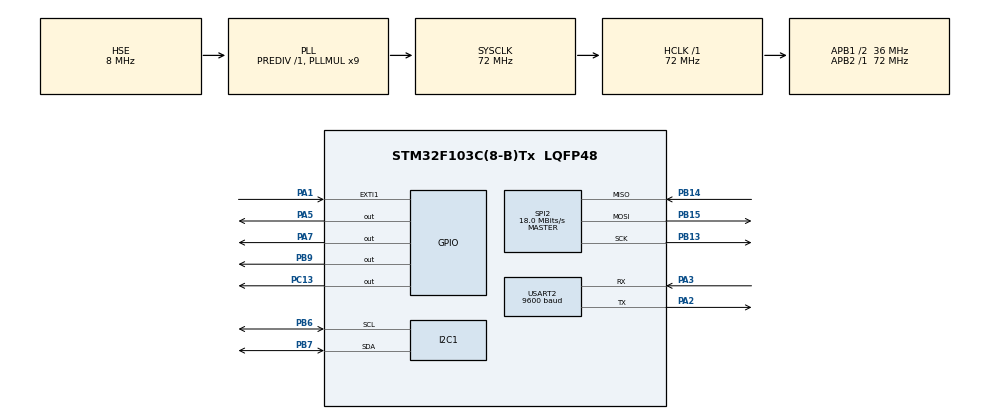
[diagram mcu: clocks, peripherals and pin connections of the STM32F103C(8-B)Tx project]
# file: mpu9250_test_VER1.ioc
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I2C1.I2C_Mode=I2C_Fast
Mcu.Family=STM32F1
Mcu.Name=STM32F103C(8-B)Tx
Mcu.Package=LQFP48
NVIC.EXTI1_IRQn=true\:0\:0\:false\:false\:true\:true\:true
NVIC.PriorityGroup=NVIC_PRIORITYGROUP_4
NVIC.USART2_IRQn=true\:0\:0\:false\:false\:true\:true\:true
PA1.GPIO_ModeDefaultEXTI=GPIO_MODE_IT_RISING
PA1.GPIO_PuPd=GPIO_PULLUP
PA1.Signal=GPXTI1
PA13.Mode=Serial_Wire
PA13.Signal=SYS_JTMS-SWDIO
PA14.Mode=Serial_Wire
PA14.Signal=SYS_JTCK-SWCLK
PA2.Mode=Asynchronous
PA2.Signal=USART2_TX
PA3.Mode=Asynchronous
PA3.Signal=USART2_RX
PA5.Signal=GPIO_Output
PA7.Signal=GPIO_Output
PB13.Mode=Full_Duplex_Master
PB13.Signal=SPI2_SCK
PB14.Mode=Full_Duplex_Master
PB14.Signal=SPI2_MISO
PB15.Mode=Full_Duplex_Master
PB15.Signal=SPI2_MOSI
PB6.Mode=I2C
PB6.Signal=I2C1_SCL
PB7.Mode=I2C
PB7.Signal=I2C1_SDA
PB9.Signal=GPIO_Output
PC13-TAMPER-RTC.Signal=GPIO_Output
PD0-OSC_IN.Mode=HSE-External-Oscillator
PD0-OSC_IN.Signal=RCC_OSC_IN
PD1-OSC_OUT.Mode=HSE-External-Oscillator
PD1-OSC_OUT.Signal=RCC_OSC_OUT
ProjectManager.HeapSize=0x200
ProjectManager.StackSize=0x400
ProjectManager.TargetToolchain=STM32CubeIDE
RCC.AHBFreq_Value=72000000
RCC.APB1CLKDivider=RCC_HCLK_DIV2
RCC.APB1Freq_Value=36000000
RCC.APB1TimFreq_Value=72000000
RCC.APB2Freq_Value=72000000
RCC.APB2TimFreq_Value=72000000
RCC.HCLKFreq_Value=72000000
RCC.PLLMUL=RCC_PLL_MUL9
RCC.PLLSourceVirtual=RCC_PLLSOURCE_HSE
RCC.SYSCLKFreq_VALUE=72000000
RCC.SYSCLKSource=RCC_SYSCLKSOURCE_PLLCLK
RCC.USBFreq_Value=72000000
SPI2.CalculateBaudRate=18.0 MBits/s
SPI2.Direction=SPI_DIRECTION_2LINES
SPI2.Mode=SPI_MODE_MASTER
SPI2.VirtualType=VM_MASTER
TIM2.Prescaler=36000
USART2.BaudRate=9600
USART2.VirtualMode=VM_ASYNC
VP_TIM2_VS_ClockSourceINT.Mode=Internal
board=custom

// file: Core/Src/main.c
/* USER CODE BEGIN Header */
/**
  ******************************************************************************
  * @file           : main.c
  * @brief          : Main program body
  ******************************************************************************
  * @attention
  *
  * <h2><center>&copy; Copyright (c) 2021 STMicroelectronics.
  * All rights reserved.</center></h2>
  *
  * This software component is licensed by ST under BSD 3-Clause license,
  * the "License"; You may not use this file except in compliance with the
  * License. You may obtain a copy of the License at:
  *                        opensource.org/licenses/BSD-3-Clause
  *
  ******************************************************************************
  */
/* USER CODE END Header */
#include "main.h"

/* USER CODE BEGIN Includes */
#include <stdio.h>
#include <stdlib.h>
#include <string.h>
#include <math.h>
#include "kalman.h"
#include "MahonyAHRS.h"
/* USER CODE END Includes */

I2C_HandleTypeDef hi2c1;

SPI_HandleTypeDef hspi2;

TIM_HandleTypeDef htim2;

UART_HandleTypeDef huart2;

void SystemClock_Config(void);
static void MX_GPIO_Init(void);
static void MX_USART2_UART_Init(void);
static void MX_I2C1_Init(void);
static void MX_TIM2_Init(void);
static void MX_SPI2_Init(void);

/* USER CODE BEGIN 0 */
#define PI 3.14159265
//MPU6500
#define MPU9250_ADDR 0xD0 //0x68<<1
#define WHO_AM_I_REG 0x75 //return value 0x71
#define PWR_MGMT_1_REG 0x6B
#define PWR_MGMT_2_REG 0x6C
#define SMPLRT_DIV_REG 0x19
#define CONFIG_REG 0x1A
#define GYRO_CONFIG_REG 0x1B
#define ACCEL_CONFIG_REG 0x1C
#define ACCEL_CONFIG2_REG 0x1D
#define WOM_THR_REG 0x1F
#define ACCEL_XOUT_H_REG 0x3B
#define TEMP_OUT_H_REG 0x41
#define GYRO_XOUT_H_REG 0x43
#define INT_ENABL_REG 0x38
#define MOT_DETECT_CTRL_REG 0x69
#define INT_PIN_CFG_REG 0x37
#define FIFO_EN          0x23
#define I2C_MST_CTRL     0x24
#define USER_CTRL        0x6A  // Bit 7 enable DMP, bit 3 reset DMP
#define FIFO_COUNTH      0x72
#define FIFO_R_W         0x74

// AK8963 registers
#define AK8963_ADDR 0x0C
#define AK8963_CNTL1_REG 0x0A
#define AK8963_WHOAMI_REG 0x00 //device id = 0x48
#define AK8963_HXL_REG 0x03 //Measurement Data
#define AK8963_ASAX      0x10	// Fuse ROM x-axis sensitivity adjustment value

uint8_t Mmode = 0x06;        // 2 for 8 Hz, 6 for 100 Hz continuous magnetometer data read

int16_t Accel_X_RAW = 0;
int16_t Accel_Y_RAW = 0;
int16_t Accel_Z_RAW = 0;

int16_t Gyro_X_RAW = 0;
int16_t Gyro_Y_RAW = 0;
int16_t Gyro_Z_RAW = 0;

int16_t Mag_X_RAW = 0;
int16_t Mag_Y_RAW = 0;
int16_t Mag_Z_RAW = 0;

int16_t Temp_RAW = 0;

uint8_t data_rec[6];
uint8_t data;
int16_t x,y,z;
float xg,yg,zg;

float magCalibration[3] = {0, 0, 0};
float gyroBias[3] = {0, 0, 0}, accelBias[3] = {0, 0, 0} ,magBias[3] = {0, 0, 0}, magScale[3]  = {0, 0, 0};
float Ax, Ay, Az, Gx, Gy, Gz, Mx, My, Mz, Temp;
kfilter* gxf,* gyf,* gzf;

double angle[3];
double prior[3];
double roll,pitch;
double rad2deg = 180/3.1415;
float mRes = 10.*4912./32760.0; // Proper scale to return milliGauss
float dt=0.01;
double base[3]={0,0,0};
double acce[3];

void MPU9250_Init (void)
{
    uint8_t check;
    uint8_t Data;

	// check WHO_AM_I

    HAL_I2C_Mem_Read (&hi2c1, MPU9250_ADDR,WHO_AM_I_REG,1, &check, 1, 1000);

    if (check == 0x71)
	{
		//Reset
		Data = 0X80;
		HAL_I2C_Mem_Write(&hi2c1, MPU9250_ADDR, PWR_MGMT_1_REG, 1,&Data, 1, 1000);

		//Wake up
        Data = 0X00;
        HAL_I2C_Mem_Write(&hi2c1, MPU9250_ADDR, PWR_MGMT_1_REG, 1,&Data, 1, 1000);

		// Set DATA RATE = 1kHZ
        Data = 0x00;
        HAL_I2C_Mem_Write(&hi2c1, MPU9250_ADDR, SMPLRT_DIV_REG, 1, &Data, 1, 1000);

		// Set accelerometer +-2g
		Data = 0x00;
		HAL_I2C_Mem_Write(&hi2c1, MPU9250_ADDR, ACCEL_CONFIG_REG, 1, &Data, 1, 1000);

		// Set Gyroscope +-250
		Data = 0x11;
		HAL_I2C_Mem_Write(&hi2c1, MPU9250_ADDR, GYRO_CONFIG_REG, 1, &Data, 1, 1000);

		// Set DLPF Gyro Bandwidth = 188hz
		Data = 0x01;
		HAL_I2C_Mem_Write(&hi2c1, MPU9250_ADDR, CONFIG_REG, 1, &Data, 1, 1000);

		// Set DLPF ACCEL Bandwidth = 5hz
		Data = 0x06;
		HAL_I2C_Mem_Write(&hi2c1, MPU9250_ADDR, ACCEL_CONFIG2_REG, 1, &Data, 1, 1000);

		//The logic level for INT pin is active low
		//BYPASS Enable
		Data = 0x82;
		HAL_I2C_Mem_Write(&hi2c1, MPU9250_ADDR, INT_PIN_CFG_REG, 1, &Data, 1, 1000);

		// Auto selects the best available clock source ?? PLL if ready, else use the Internal oscillator
		Data = 0x01;
		HAL_I2C_Mem_Write(&hi2c1, MPU9250_ADDR, PWR_MGMT_1_REG, 1, &Data, 1, 1000);

		// Enable ACCEL & GYRO
		Data = 0x00;
		HAL_I2C_Mem_Write(&hi2c1, MPU9250_ADDR, PWR_MGMT_2_REG, 1, &Data, 1, 1000);
	}

	HAL_I2C_Mem_Read (&hi2c1, (AK8963_ADDR<<1),AK8963_WHOAMI_REG,1, &check, 1, 1000);

	if (check == 0x48){
		// Single measurement mode
		// 16-bit output
		Data = 0x11;
		HAL_I2C_Mem_Write(&hi2c1, (AK8963_ADDR<<1), AK8963_CNTL1_REG, 1, &Data, 1, 1000);
	}
}
void initAK8963(float * destination)
{
  // First extract the factory calibration for each magnetometer axis
    uint8_t rawData[3];  // x/y/z gyro calibration data stored here
    uint8_t Data;
    Data = 0x00;
    HAL_I2C_Mem_Write(&hi2c1, (AK8963_ADDR<<1), AK8963_CNTL1_REG, 1, &Data, 1, 1000);	 // Power down magnetometer
    HAL_Delay(10);
    Data = 0x0F;
    HAL_I2C_Mem_Write(&hi2c1, (AK8963_ADDR<<1), AK8963_CNTL1_REG, 1, &Data, 1, 1000);	// Enter Fuse ROM access mode
    HAL_Delay(10);
    HAL_I2C_Mem_Read (&hi2c1, (AK8963_ADDR<<1),AK8963_ASAX,1, &rawData, 3, 1000); // Read the x-, y-, and z-axis calibration values
    destination[0] =  (float)(rawData[0] - 128)/256. + 1.;   // Return x-axis sensitivity adjustment values, etc.
    destination[1] =  (float)(rawData[1] - 128)/256. + 1.;
    destination[2] =  (float)(rawData[2] - 128)/256. + 1.;
    Data = 0x00;
    HAL_I2C_Mem_Write(&hi2c1, (AK8963_ADDR<<1), AK8963_CNTL1_REG, 1, &Data, 1, 1000);	 // Power down magnetometer
    HAL_Delay(10);
  // Configure the magnetometer for continuous read and highest resolution
  // set Mscale bit 4 to 1 (0) to enable 16 (14) bit resolution in CNTL register,
  // and enable continuous mode data acquisition Mmode (bits [3:0]), 0010 for 8 Hz and 0110 for 100 Hz sample rates
    Data = 1 << 4 | Mmode;
    HAL_I2C_Mem_Write(&hi2c1, (AK8963_ADDR<<1), AK8963_CNTL1_REG, 1, &Data, 1, 1000); // Set magnetometer data resolution and sample ODR
    HAL_Delay(10);
}

void MPU9250_Read_Accel (void)
{
	uint8_t Rec_Data[6];

	// Read 6 BYTES of data starting from ACCEL_XOUT_H register

	HAL_I2C_Mem_Read (&hi2c1, MPU9250_ADDR, ACCEL_XOUT_H_REG, 1, Rec_Data, 6, 1000);

	Accel_X_RAW = (int16_t)(Rec_Data[0] << 8 | Rec_Data [1]);
	Accel_Y_RAW = (int16_t)(Rec_Data[2] << 8 | Rec_Data [3]);
	Accel_Z_RAW = (int16_t)(Rec_Data[4] << 8 | Rec_Data [5]);

	/*** convert the RAW values into acceleration in 'g'
	     check ACCEL_CONFIG Register              ****/

	Ax = Accel_X_RAW/16384.0 ;
	Ay = Accel_Y_RAW/16384.0 ;
    Az = Accel_Z_RAW/16384.0 ;
    Ax-=accelBias[0];
	Ay-=accelBias[1];
    Az-=accelBias[2];
}

void MPU9250_Read_Gyro (void)
{
	uint8_t Rec_Data[6];

	// Read 6 BYTES of data starting from GYRO_XOUT_H register

	HAL_I2C_Mem_Read (&hi2c1, MPU9250_ADDR, GYRO_XOUT_H_REG, 1, Rec_Data, 6, 1000);

	Gyro_X_RAW = (int16_t)(Rec_Data[0] << 8 | Rec_Data [1]);
	Gyro_Y_RAW = (int16_t)(Rec_Data[2] << 8 | Rec_Data [3]);
	Gyro_Z_RAW = (int16_t)(Rec_Data[4] << 8 | Rec_Data [5]);

	/*** convert the RAW values into dps
	 check GYRO_CONFIG Register              ****/

	Gx = Gyro_X_RAW/131.0 - gyroBias[0];
	Gy = Gyro_Y_RAW/131.0 - gyroBias[1];
	Gz = Gyro_Z_RAW/131.0 - gyroBias[2];
}

void MPU9250_Read_Temp (void)
{
	uint8_t Rec_Data[2];

	// Read 2 BYTES of data starting from TEMP_OUT_H_REG register

	HAL_I2C_Mem_Read (&hi2c1, MPU9250_ADDR, TEMP_OUT_H_REG, 1, Rec_Data, 2, 1000);

	Temp_RAW = (int16_t)(Rec_Data[0] << 8 | Rec_Data [1]);

	/*** convert the RAW values into the temperature in degrees C
	 	 	 ****/

	Temp=21+((double)Temp_RAW)/333.87;
}

void MPU9250_Read_Mag (void)
{
	uint8_t Rec_Data[6];
	uint8_t Data = 0x11;
	// Read 6 BYTES of data starting from AK8963_HXL_REG register

	HAL_I2C_Mem_Read (&hi2c1, (AK8963_ADDR<<1), AK8963_HXL_REG, 1, Rec_Data, 6, 1000);

	Mag_X_RAW = (int16_t)(Rec_Data[1] << 8 | Rec_Data [0]);
	Mag_Y_RAW = (int16_t)(Rec_Data[3] << 8 | Rec_Data [2]);
	Mag_Z_RAW = (int16_t)(Rec_Data[5] << 8 | Rec_Data [4]);

	/*** convert the RAW values into µT
		 check HXL Register              ****/
	Mx = (float)Mag_X_RAW*mRes*magCalibration[0] - magBias[0];  // get actual magnetometer value, this depends on scale being set
	My = (float)Mag_Y_RAW*mRes*magCalibration[1] - magBias[1];
	Mz = (float)Mag_Z_RAW*mRes*magCalibration[2] - magBias[2];
	Mx *= magScale[0];
	My *= magScale[1];
	Mz *= magScale[2];

	HAL_I2C_Mem_Write(&hi2c1, (AK8963_ADDR<<1), AK8963_CNTL1_REG, 1, &Data, 1, 1000);
}
void magcalMPU9250(float * dest1, float * dest2)
{
    uint16_t ii = 0, sample_count = 0;
    int32_t mag_bias[3] = {0, 0, 0}, mag_scale[3] = {0, 0, 0};
    int16_t mag_max[3] = {-32767, -32767, -32767}, mag_min[3] = {32767, 32767, 32767}, mag_temp[3] = {0, 0, 0};
    char *str = "turn sensor \n\n";
    HAL_UART_Transmit(&huart2, (uint8_t *)str, strlen (str), HAL_MAX_DELAY);
    HAL_Delay(1000);

    // shoot for ~fifteen seconds of mag data
    if(Mmode == 0x02) sample_count = 128;  // at 8 Hz ODR, new mag data is available every 125 ms
    if(Mmode == 0x06) sample_count = 1500;  // at 100 Hz ODR, new mag data is available every 10 ms
    for(ii = 0; ii < sample_count; ii++) {
        MPU9250_Read_Mag ();  // Read the mag data
        mag_temp[0]=Mag_X_RAW;
        mag_temp[1]= Mag_Y_RAW;
        mag_temp[2]= Mag_Z_RAW;
    for (int jj = 0; jj < 3; jj++) {
        if(mag_temp[jj] > mag_max[jj]) mag_max[jj] = mag_temp[jj];
        if(mag_temp[jj] < mag_min[jj]) mag_min[jj] = mag_temp[jj];
    }
    if(Mmode == 0x02) HAL_Delay(135);  // at 8 Hz ODR, new mag data is available every 125 ms
    if(Mmode == 0x06) HAL_Delay(12);  // at 100 Hz ODR, new mag data is available every 10 ms
    }
    char *str2 = "mag done\n\n";
    HAL_UART_Transmit(&huart2, (uint8_t *)str2, strlen (str2), HAL_MAX_DELAY);

//    Serial.println("mag x min/max:"); Serial.println(mag_max[0]); Serial.println(mag_min[0]);
//    Serial.println("mag y min/max:"); Serial.println(mag_max[1]); Serial.println(mag_min[1]);
//    Serial.println("mag z min/max:"); Serial.println(mag_max[2]); Serial.println(mag_min[2]);

    // Get hard iron correction
    mag_bias[0]  = (mag_max[0] + mag_min[0])/2;  // get average x mag bias in counts
    mag_bias[1]  = (mag_max[1] + mag_min[1])/2;  // get average y mag bias in counts
    mag_bias[2]  = (mag_max[2] + mag_min[2])/2;  // get average z mag bias in counts

    dest1[0] = (float) mag_bias[0]*mRes*magCalibration[0];  // save mag biases in G for main program
    dest1[1] = (float) mag_bias[1]*mRes*magCalibration[1];
    dest1[2] = (float) mag_bias[2]*mRes*magCalibration[2];

    // Get soft iron correction estimate
    mag_scale[0]  = (mag_max[0] - mag_min[0])/2;  // get average x axis max chord length in counts
    mag_scale[1]  = (mag_max[1] - mag_min[1])/2;  // get average y axis max chord length in counts
    mag_scale[2]  = (mag_max[2] - mag_min[2])/2;  // get average z axis max chord length in counts

    float avg_rad = mag_scale[0] + mag_scale[1] + mag_scale[2];
    avg_rad /= 3.0;

    dest2[0] = avg_rad/((float)mag_scale[0]);
    dest2[1] = avg_rad/((float)mag_scale[1]);
    dest2[2] = avg_rad/((float)mag_scale[2]);
}

void calibrateMPU9250(float * dest1, float * dest2)
{
	uint8_t data[12]; // data array to hold accelerometer and gyro x, y, z, data
	uint16_t ii, packet_count, fifo_count;
	int32_t gyro_bias[3]  = {0, 0, 0}, accel_bias[3] = {0, 0, 0};
	uint8_t Data;

// Configure device for bias calculation
	Data = 0x01;
	HAL_I2C_Mem_Write(&hi2c1, MPU9250_ADDR, PWR_MGMT_1_REG, 1, &Data, 1, 1000);
	Data = 0x00;
	HAL_I2C_Mem_Write(&hi2c1, MPU9250_ADDR, PWR_MGMT_1_REG, 1, &Data, 1, 1000);   // Turn on internal clock source
	HAL_I2C_Mem_Write(&hi2c1, MPU9250_ADDR, I2C_MST_CTRL, 1, &Data, 1, 1000);		 // Disable I2C master
	HAL_I2C_Mem_Write(&hi2c1, MPU9250_ADDR, USER_CTRL, 1, &Data, 1, 1000);	  // Disable FIFO and I2C master modes
	Data = 0x0C;
	HAL_I2C_Mem_Write(&hi2c1, MPU9250_ADDR, USER_CTRL, 1, &Data, 1, 1000);	  // Reset FIFO and DMP

// Configure MPU6050 gyro and accelerometer for bias calculation

	Data = 0x01;
	HAL_I2C_Mem_Write(&hi2c1, MPU9250_ADDR, CONFIG_REG, 1, &Data, 1, 1000);     // Set low-pass filter to 188 Hz
	Data = 0x00;
	HAL_I2C_Mem_Write(&hi2c1, MPU9250_ADDR, SMPLRT_DIV_REG, 1, &Data, 1, 1000);  // Set sample rate to 1 kHz
	HAL_I2C_Mem_Write(&hi2c1, MPU9250_ADDR, GYRO_CONFIG_REG, 1, &Data, 1, 1000);	 // Set gyro full-scale to 250 degrees per second, maximum sensitivity
	HAL_I2C_Mem_Write(&hi2c1, MPU9250_ADDR, ACCEL_CONFIG_REG, 1, &Data, 1, 1000);	 // Set accelerometer full-scale to 2 g, maximum sensitivity

	uint16_t  gyrosensitivity  = 131;   // = 131 LSB/degrees/sec
	uint16_t  accelsensitivity = 16384;  // = 16384 LSB/g

    // Configure FIFO to capture accelerometer and gyro data for bias calculation
	Data = 0x40;
	HAL_I2C_Mem_Write(&hi2c1, MPU9250_ADDR, USER_CTRL, 1, &Data, 1, 1000);  // Enable FIFO
	Data = 0x78;
	for(int j=0;j<100;j++){
		MPU9250_Read_Accel();
		MPU9250_Read_Gyro();
		accel_bias[0]+=Accel_X_RAW;
		accel_bias[1]+=Accel_Y_RAW;
		accel_bias[2]+=Accel_Z_RAW;
		gyro_bias[0]+=Gyro_X_RAW;
		gyro_bias[1]+=Gyro_Y_RAW;
		gyro_bias[2]+=Gyro_Z_RAW;
		HAL_Delay(1);
	}
	packet_count = 100;// How many sets of full gyro and accelerometer data for averaging

    accel_bias[0] /= (int32_t) packet_count; // Normalize sums to get average count biases
    accel_bias[1] /= (int32_t) packet_count;
    accel_bias[2] /= (int32_t) packet_count;
    gyro_bias[0]  /= (int32_t) packet_count;
    gyro_bias[1]  /= (int32_t) packet_count;
    gyro_bias[2]  /= (int32_t) packet_count;

	if(accel_bias[2] > 0L) {accel_bias[2] -= (int32_t) accelsensitivity;}  // Remove gravity from the z-axis accelerometer bias calculation
	else {accel_bias[2] += (int32_t) accelsensitivity;}

// Output scaled gyro biases for display in the main program
	dest1[0] = (float) gyro_bias[0]/(float) gyrosensitivity;
	dest1[1] = (float) gyro_bias[1]/(float) gyrosensitivity;
	dest1[2] = (float) gyro_bias[2]/(float) gyrosensitivity;

// Output scaled accelerometer biases for display in the main program
	dest2[0] = (float)accel_bias[0]/(float)accelsensitivity;
	dest2[1] = (float)accel_bias[1]/(float)accelsensitivity;
	dest2[2] = (float)accel_bias[2]/(float)accelsensitivity;
}

void setfilter_angle(){				//use acce to get initial angle

	roll = atan2(Ay,Az) * rad2deg;
	pitch = atan(-Ax / sqrt(Ay*Ay+Az*Az)) * rad2deg;
	float yaw = atan(My/Mx) * rad2deg;
	setAngle(gxf,roll);
	setAngle(gyf,pitch);
	setAngle(gzf,yaw);

	gxf->bias=1.9362;
	gyf->bias=1.3398;
	gzf->bias=0.84063;

	angle[0]=roll;
	angle[1]=pitch;
	angle[2]=0;
	prior[0]=roll;
	prior[1]=pitch;
	prior[2]=0;
}

void Clock_Start(){
	TIM2->CNT=0x00;
	HAL_TIM_Base_Start(&htim2);
}

int Clock_End(){
	int result;
	result = TIM2->CNT;
	HAL_TIM_Base_Stop(&htim2);
	return result;
}

//static void MX_SPI2_Init(void)
//{
//
//	/* USER CODE BEGIN SPI2_Init 0 */
//
//	/* USER CODE END SPI2_Init 0 */
//
//	/* USER CODE BEGIN SPI2_Init 1 */
//
//	/* USER CODE END SPI2_Init 1 */
//	/* SPI2 parameter configuration*/
//	hspi2.Instance = SPI2;
//	hspi2.Init.Mode = SPI_MODE_MASTER;
//	hspi2.Init.Direction = SPI_DIRECTION_2LINES;
//	hspi2.Init.DataSize = SPI_DATASIZE_8BIT;
//	hspi2.Init.CLKPolarity = SPI_POLARITY_HIGH;
//	hspi2.Init.CLKPhase = SPI_PHASE_2EDGE;
//	hspi2.Init.NSS = SPI_NSS_SOFT;
//	hspi2.Init.BaudRatePrescaler = SPI_BAUDRATEPRESCALER_16;
//	hspi2.Init.FirstBit = SPI_FIRSTBIT_MSB;
//	hspi2.Init.TIMode = SPI_TIMODE_DISABLE;
//	hspi2.Init.CRCCalculation = SPI_CRCCALCULATION_DISABLE;
//	hspi2.Init.CRCPolynomial = 10;
//	if (HAL_SPI_Init(&hspi2) != HAL_OK)
//	{
//		Error_Handler();
//	}
//	/* USER CODE BEGIN SPI2_Init 2 */
//
//	/* USER CODE END SPI2_Init 2 */
//}

void adxl_write(uint8_t address,uint8_t value){
	uint8_t data[2];
	data[0]=address|0x40;
	data[1]=value;
	HAL_GPIO_WritePin(GPIOB,GPIO_PIN_9,GPIO_PIN_RESET);
	HAL_SPI_Transmit(&hspi2,data,2,100);
	HAL_GPIO_WritePin(GPIOB,GPIO_PIN_9,GPIO_PIN_SET);
}

void adxl_read_data(uint8_t address){
	address |= 0x80;
	address |= 0x40;
	HAL_GPIO_WritePin(GPIOB,GPIO_PIN_9,GPIO_PIN_RESET);
	HAL_SPI_Transmit(&hspi2,&address,1,100);
	HAL_SPI_Receive(&hspi2,data_rec,6,100);
	HAL_GPIO_WritePin(GPIOB,GPIO_PIN_9,GPIO_PIN_SET);
}

void adxl_read(uint8_t address){
	address |= 0x80;
	HAL_GPIO_WritePin(GPIOB,GPIO_PIN_9,GPIO_PIN_RESET);
	HAL_SPI_Transmit(&hspi2,&address,1,100);
	HAL_SPI_Receive(&hspi2,&data,1,100);
	HAL_GPIO_WritePin(GPIOB,GPIO_PIN_9,GPIO_PIN_SET);
}

void adxl_init(void){
	adxl_write(0x31,0x00); //DATA_FORMAT=> +-2g
	adxl_write(0x2d,0x00); //POWER_CTL => Wakeup Bits
	adxl_write(0x2c,0x0A); //100hz
	adxl_write(0x2d,0x08); //POWER_CTL => Measure Bit
	adxl_write(0x2e,0x00); //INT_ENABLE => close
	adxl_write(0x24,0x4b); //THRESH_ACT =>75
	adxl_write(0x27,0x40); //ACT_INACT_CTL => dc-coupled operation,enable ACT_X
	adxl_write(0x2f,0x10); //INT_MAP => Activity map INT2
	adxl_write(0x2e,0x93); //INT_ENABLE => open
}

void getData_from_ADXL(int id){

	unsigned char buffer[100]="\0";
//	adxl_read(0x30);
//	memset(buffer, '\0', 100);
//	sprintf(buffer,"adxl : %x \n\r",data);
//	while(HAL_UART_GetState(&huart2)!=HAL_UART_STATE_READY);
//
//	if(HAL_UART_Transmit(&huart2,(uint8_t*)buffer,sizeof(buffer),100)!=HAL_OK){
//		Error_Handler();
//	}
	adxl_read_data(0x32);
	x=(data_rec[1]<<8)|data_rec[0];
	y=(data_rec[3]<<8)|data_rec[2];
	z=(data_rec[5]<<8)|data_rec[4];

	Ax=x;
	Ay=y;
	Az=z;

//	xg = x*0.0078;
//	yg = y*0.0078;
//	zg = z*0.0078;
//	memset(buffer, '\0', 100);
//	sprintf(buffer,"%d,%d,%d,%d\n\r",id,x,y,z);
//	while(HAL_UART_GetState(&huart2)!=HAL_UART_STATE_READY);
//	if(HAL_UART_Transmit(&huart2,(uint8_t*)buffer,sizeof(buffer),100)!=HAL_OK){
//		Error_Handler();
//	}

//	memset(buffer, '\0', 100);
//	sprintf(buffer,"%d,%7.2f,%7.2f,%7.2f\n\r",id,xg,yg,zg);
//	while(HAL_UART_GetState(&huart2)!=HAL_UART_STATE_READY);
//	if(HAL_UART_Transmit(&huart2,(uint8_t*)buffer,sizeof(buffer),100)!=HAL_OK){
//		Error_Handler();
//	}
}
/* USER CODE END 0 */

int main(void)
{

  /* MCU Configuration--------------------------------------------------------*/

  /* Reset of all peripherals, Initializes the Flash interface and the Systick. */
	HAL_Init();

  /* Configure the system clock */
	SystemClock_Config();

  /* Initialize all configured peripherals */
	MX_GPIO_Init();
	MX_USART2_UART_Init();
	MX_I2C1_Init();
	MX_TIM2_Init();
	MX_SPI2_Init();
  /* USER CODE BEGIN 2 */
	MPU9250_Init();
	HAL_Delay(2000);

	calibrateMPU9250(gyroBias,accelBias);

	initAK8963(magCalibration);
	magcalMPU9250(magBias, magScale);
	//gxf=new_Kalman();
	//gyf=new_Kalman();
	//gzf=new_Kalman();
	adxl_init();

	//setfilter_angle();

  /* USER CODE END 2 */

  /* Infinite loop */
  /* USER CODE BEGIN WHILE */
	float ahrs[]={0,0,0};
	int m=0;
//	unsigned char buffer[30]="\0";
//	while(1){
//
//		HAL_Delay(1000);
//	}

	while (1)
	{

		Clock_Start();
//		MPU9250_Read_Accel();
		MPU9250_Read_Gyro();
		MPU9250_Read_Mag();
		getData_from_ADXL(100);

		MahonyAHRSupdate(Gx, Gy, Gz, Ax, Ay, Az, My, Mx, Mz);

		prior[2]=angle[2];
		prior[0]=angle[0];
		prior[1]=angle[1];
	 	ahrs[0]=atan2f(q0*q1 + q2*q3, 0.5f - q1*q1 - q2*q2) * rad2deg;
	 	ahrs[1]=asinf(-2.0f * (q1*q3 - q0*q2)) * rad2deg;
	 	ahrs[2]=atan2f(q1*q2 + q0*q3, 0.5f - q2*q2 - q3*q3)* rad2deg;

//	 	float halfvx = q1 * q3 - q0 * q2;
//	 	float halfvy = q0 * q1 + q2 * q3;
//	 	float halfvz = q0 * q0 - 0.5f + q3 * q3;
	 	 /*//get baseline
	 	 	base[0]=-1*sin(angle[1]/rad2deg)*sqrt(Ax*Ax+Ay*Ay+Az*Az);
	 	 	base[1]=cos(angle[1]/rad2deg)*sin(angle[0]/rad2deg)*sqrt(Ax*Ax+Ay*Ay+Az*Az);
	 	 	base[2]=cos(angle[1]/rad2deg)*cos(angle[0]/rad2deg)*sqrt(Ax*Ax+Ay*Ay+Az*Az);
	 	 // get acce
	 	 	acce[0]=Ax-base[0];	acce[1]=Ay-base[1];	acce[2]=Az-base[2];*/
		char mes[86];
		//below is for linear acc caculation
		sprintf(mes,"%6.3f,%6.3f,%6.3f,%6.3f,%6.3f,%6.3f,%6.3f\n\r" ,Ax, Ay, Az,q0 ,q1 ,q2 ,q3 );

		//marked for temp
//		sprintf(mes,"%7.2f,%7.2f,%7.2f\n",ahrs[0],ahrs[1],ahrs[2]);
		HAL_UART_Transmit(&huart2, (uint8_t *)mes, strlen(mes), HAL_MAX_DELAY);

		//below is for 345 ic

//		adxl_read(0x32);
//		x=(data_rec[1]<<8)|data_rec[0];
//		y=(data_rec[3]<<8)|data_rec[2];
//		z=(data_rec[5]<<8)|data_rec[4];
//
//		xg = x*0.0078;
//		yg = y*0.0078;
//		zg = z*0.0078;
//		unsigned char buffer[30]="\0";
//		int id=0;
//		memset(buffer, '\0', 30);
//		sprintf(buffer,"%d,%+.3f,%+.3f,%+.3f\n",id,xg,yg,zg);
//		id++;
//		HAL_UART_Transmit(&huart2,(uint8_t*)buffer,sizeof(buffer),HAL_MAX_DELAY);
		//above is for 345 ic

		//sprintf(mes,"%6.3f,%6.3f,%6.3f,%6.3f,%6.3f,%6.3f\n",Ax,Ay,Az,accelBias[0],accelBias[1],accelBias[2]);

	 	 // calculate delay time
		int cost = Clock_End()/2;

		if(dt*1000-cost>0)
			HAL_Delay (dt*1000-cost);
    /* USER CODE END WHILE */

	}
}

void SystemClock_Config(void)
{
	RCC_OscInitTypeDef RCC_OscInitStruct = {0};
	RCC_ClkInitTypeDef RCC_ClkInitStruct = {0};

	/** Initializes the RCC Oscillators according to the specified parameters
	* in the RCC_OscInitTypeDef structure.
	*/
	RCC_OscInitStruct.OscillatorType = RCC_OSCILLATORTYPE_HSE;
	RCC_OscInitStruct.HSEState = RCC_HSE_ON;
	RCC_OscInitStruct.HSEPredivValue = RCC_HSE_PREDIV_DIV1;
	RCC_OscInitStruct.HSIState = RCC_HSI_ON;
	RCC_OscInitStruct.PLL.PLLState = RCC_PLL_ON;
	RCC_OscInitStruct.PLL.PLLSource = RCC_PLLSOURCE_HSE;
	RCC_OscInitStruct.PLL.PLLMUL = RCC_PLL_MUL9;
	if (HAL_RCC_OscConfig(&RCC_OscInitStruct) != HAL_OK)
	{
		Error_Handler();
	}
	/** Initializes the CPU, AHB and APB buses clocks
	*/
	RCC_ClkInitStruct.ClockType = RCC_CLOCKTYPE_HCLK|RCC_CLOCKTYPE_SYSCLK
							  |RCC_CLOCKTYPE_PCLK1|RCC_CLOCKTYPE_PCLK2;
	RCC_ClkInitStruct.SYSCLKSource = RCC_SYSCLKSOURCE_PLLCLK;
	RCC_ClkInitStruct.AHBCLKDivider = RCC_SYSCLK_DIV1;
	RCC_ClkInitStruct.APB1CLKDivider = RCC_HCLK_DIV2;
	RCC_ClkInitStruct.APB2CLKDivider = RCC_HCLK_DIV1;

	if (HAL_RCC_ClockConfig(&RCC_ClkInitStruct, FLASH_LATENCY_2) != HAL_OK)
	{
		Error_Handler();
	}
}

static void MX_I2C1_Init(void)
{

	hi2c1.Instance = I2C1;
	hi2c1.Init.ClockSpeed = 400000;
	hi2c1.Init.DutyCycle = I2C_DUTYCYCLE_2;
	hi2c1.Init.OwnAddress1 = 0;
	hi2c1.Init.AddressingMode = I2C_ADDRESSINGMODE_7BIT;
	hi2c1.Init.DualAddressMode = I2C_DUALADDRESS_DISABLE;
	hi2c1.Init.OwnAddress2 = 0;
	hi2c1.Init.GeneralCallMode = I2C_GENERALCALL_DISABLE;
	hi2c1.Init.NoStretchMode = I2C_NOSTRETCH_DISABLE;
	if (HAL_I2C_Init(&hi2c1) != HAL_OK)
	{
		Error_Handler();
	}

}

static void MX_SPI2_Init(void)
{

	/* SPI2 parameter configuration*/
	hspi2.Instance = SPI2;
	hspi2.Init.Mode = SPI_MODE_MASTER;
	hspi2.Init.Direction = SPI_DIRECTION_2LINES;
	hspi2.Init.DataSize = SPI_DATASIZE_8BIT;
	hspi2.Init.CLKPolarity = SPI_POLARITY_HIGH;
	hspi2.Init.CLKPhase = SPI_PHASE_2EDGE;
	hspi2.Init.NSS = SPI_NSS_SOFT;
	hspi2.Init.BaudRatePrescaler = SPI_BAUDRATEPRESCALER_16;
	hspi2.Init.FirstBit = SPI_FIRSTBIT_MSB;
	hspi2.Init.TIMode = SPI_TIMODE_DISABLE;
	hspi2.Init.CRCCalculation = SPI_CRCCALCULATION_DISABLE;
	hspi2.Init.CRCPolynomial = 10;
	if (HAL_SPI_Init(&hspi2) != HAL_OK)
	{
		Error_Handler();
	}

}

static void MX_TIM2_Init(void)
{

	TIM_ClockConfigTypeDef sClockSourceConfig = {0};
	TIM_MasterConfigTypeDef sMasterConfig = {0};

	htim2.Instance = TIM2;
	htim2.Init.Prescaler = 36000;
	htim2.Init.CounterMode = TIM_COUNTERMODE_UP;
	htim2.Init.Period = 65535;
	htim2.Init.ClockDivision = TIM_CLOCKDIVISION_DIV1;
	htim2.Init.AutoReloadPreload = TIM_AUTORELOAD_PRELOAD_DISABLE;
	if (HAL_TIM_Base_Init(&htim2) != HAL_OK)
	{
		Error_Handler();
	}
	sClockSourceConfig.ClockSource = TIM_CLOCKSOURCE_INTERNAL;
	if (HAL_TIM_ConfigClockSource(&htim2, &sClockSourceConfig) != HAL_OK)
	{
		Error_Handler();
	}
	sMasterConfig.MasterOutputTrigger = TIM_TRGO_RESET;
	sMasterConfig.MasterSlaveMode = TIM_MASTERSLAVEMODE_DISABLE;
	if (HAL_TIMEx_MasterConfigSynchronization(&htim2, &sMasterConfig) != HAL_OK)
	{
		Error_Handler();
	}

}

static void MX_USART2_UART_Init(void)
{

	huart2.Instance = USART2;
	huart2.Init.BaudRate = 115200;
	huart2.Init.WordLength = UART_WORDLENGTH_8B;
	huart2.Init.StopBits = UART_STOPBITS_1;
	huart2.Init.Parity = UART_PARITY_NONE;
	huart2.Init.Mode = UART_MODE_TX_RX;
	huart2.Init.HwFlowCtl = UART_HWCONTROL_NONE;
	huart2.Init.OverSampling = UART_OVERSAMPLING_16;
	if (HAL_UART_Init(&huart2) != HAL_OK)
	{
		Error_Handler();
	}

}

static void MX_GPIO_Init(void)
{
	GPIO_InitTypeDef GPIO_InitStruct = {0};

	/* GPIO Ports Clock Enable */
	__HAL_RCC_GPIOC_CLK_ENABLE();
	__HAL_RCC_GPIOD_CLK_ENABLE();
	__HAL_RCC_GPIOA_CLK_ENABLE();
	__HAL_RCC_GPIOB_CLK_ENABLE();

	/*Configure GPIO pin Output Level */
	HAL_GPIO_WritePin(GPIOC, GPIO_PIN_13, GPIO_PIN_RESET);

	/*Configure GPIO pin Output Level */
	HAL_GPIO_WritePin(GPIOA, GPIO_PIN_5|GPIO_PIN_7, GPIO_PIN_RESET);

	/*Configure GPIO pin Output Level */
	HAL_GPIO_WritePin(GPIOB, GPIO_PIN_9, GPIO_PIN_RESET);

	/*Configure GPIO pin : PC13 */
	GPIO_InitStruct.Pin = GPIO_PIN_13;
	GPIO_InitStruct.Mode = GPIO_MODE_OUTPUT_PP;
	GPIO_InitStruct.Pull = GPIO_NOPULL;
	GPIO_InitStruct.Speed = GPIO_SPEED_FREQ_LOW;
	HAL_GPIO_Init(GPIOC, &GPIO_InitStruct);

	/*Configure GPIO pin : PA1 */
	GPIO_InitStruct.Pin = GPIO_PIN_1;
	GPIO_InitStruct.Mode = GPIO_MODE_IT_RISING;
	GPIO_InitStruct.Pull = GPIO_PULLUP;
	HAL_GPIO_Init(GPIOA, &GPIO_InitStruct);

	/*Configure GPIO pins : PA5 PA7 */
	GPIO_InitStruct.Pin = GPIO_PIN_5|GPIO_PIN_7;
	GPIO_InitStruct.Mode = GPIO_MODE_OUTPUT_PP;
	GPIO_InitStruct.Pull = GPIO_NOPULL;
	GPIO_InitStruct.Speed = GPIO_SPEED_FREQ_LOW;
	HAL_GPIO_Init(GPIOA, &GPIO_InitStruct);

	/*Configure GPIO pin : PB9 */
	GPIO_InitStruct.Pin = GPIO_PIN_9;
	GPIO_InitStruct.Mode = GPIO_MODE_OUTPUT_PP;
	GPIO_InitStruct.Pull = GPIO_NOPULL;
	GPIO_InitStruct.Speed = GPIO_SPEED_FREQ_LOW;
	HAL_GPIO_Init(GPIOB, &GPIO_InitStruct);

	/* EXTI interrupt init*/
	HAL_NVIC_SetPriority(EXTI1_IRQn, 0, 0);
	HAL_NVIC_EnableIRQ(EXTI1_IRQn);

}

void Error_Handler(void)
{
}

/************************ (C) COPYRIGHT STMicroelectronics *****END OF FILE****/
